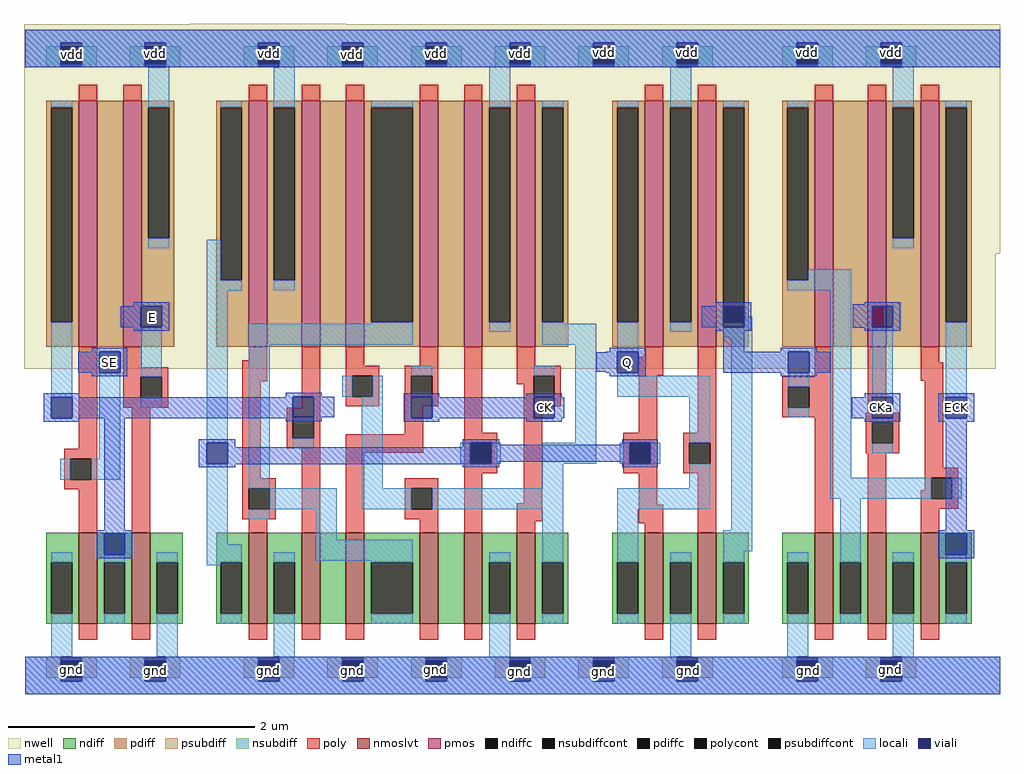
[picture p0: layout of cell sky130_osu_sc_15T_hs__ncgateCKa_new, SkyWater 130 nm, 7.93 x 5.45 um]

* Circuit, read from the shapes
.subckt sky130_osu_sc_15T_hs__ncgateCKa_new CK CKa E ECK Q SE gnd vdd
XM1 n1 SE gnd gnd sky130_fd_pr__nfet_01v8_lvt w=0.74 l=0.15
XM2 gnd E n1 gnd sky130_fd_pr__nfet_01v8_lvt w=0.74 l=0.15
XM3 gnd n2 n3 gnd sky130_fd_pr__nfet_01v8_lvt w=0.74 l=0.15
XM4 n4 n1 gnd gnd sky130_fd_pr__nfet_01v8_lvt w=0.74 l=0.15
XM5 n2 CK n4 gnd sky130_fd_pr__nfet_01v8_lvt w=0.74 l=0.15
XM6 n5 n6 n2 gnd sky130_fd_pr__nfet_01v8_lvt w=0.74 l=0.15
XM7 gnd n3 n5 gnd sky130_fd_pr__nfet_01v8_lvt w=0.74 l=0.15
XM8 n6 CK gnd gnd sky130_fd_pr__nfet_01v8_lvt w=0.74 l=0.15
XM9 gnd n3 Q gnd sky130_fd_pr__nfet_01v8_lvt w=0.74 l=0.15
XM10 n7 Q gnd gnd sky130_fd_pr__nfet_01v8_lvt w=0.74 l=0.15
XM11 n8 n7 gnd gnd sky130_fd_pr__nfet_01v8_lvt w=0.74 l=0.15
XM12 gnd CKa n8 gnd sky130_fd_pr__nfet_01v8_lvt w=0.74 l=0.15
XM13 ECK n8 gnd gnd sky130_fd_pr__nfet_01v8_lvt w=0.74 l=0.15
XM14 n9 SE n1 vdd sky130_fd_pr__pfet_01v8 w=2 l=0.15
XM15 vdd E n9 vdd sky130_fd_pr__pfet_01v8 w=2 l=0.15
XM16 vdd n2 n3 vdd sky130_fd_pr__pfet_01v8 w=2 l=0.15
XM17 n10 n1 vdd vdd sky130_fd_pr__pfet_01v8 w=2 l=0.15
XM18 n2 n6 n10 vdd sky130_fd_pr__pfet_01v8 w=2 l=0.15
XM19 n11 CK n2 vdd sky130_fd_pr__pfet_01v8 w=2 l=0.15
XM20 vdd n3 n11 vdd sky130_fd_pr__pfet_01v8 w=2 l=0.15
XM21 n6 CK vdd vdd sky130_fd_pr__pfet_01v8 w=2 l=0.15
XM22 vdd n3 Q vdd sky130_fd_pr__pfet_01v8 w=2 l=0.15
XM23 n7 Q vdd vdd sky130_fd_pr__pfet_01v8 w=2 l=0.15
XM24 n12 n7 n8 vdd sky130_fd_pr__pfet_01v8 w=2 l=0.15
XM25 vdd CKa n12 vdd sky130_fd_pr__pfet_01v8 w=2 l=0.15
XM26 ECK n8 vdd vdd sky130_fd_pr__pfet_01v8 w=2 l=0.15
.ends

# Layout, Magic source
magic
tech sky130A
magscale 1 2
<< nwell >>
rect 0 1084 255 1085
rect -269 711 1317 1084
rect -269 524 1310 711
<< nmoslvt >>
rect -180 110 -150 258
rect -94 110 -64 258
rect 96 110 126 258
rect 182 110 212 258
rect 254 110 284 258
rect 374 110 404 258
rect 446 110 476 258
rect 532 110 562 258
rect 740 110 770 258
rect 826 110 856 258
rect 1016 110 1046 258
rect 1102 110 1132 258
rect 1188 110 1218 258
<< pmos >>
rect -180 560 -150 960
rect -108 560 -78 960
rect 96 560 126 960
rect 182 560 212 960
rect 254 560 284 960
rect 374 560 404 960
rect 446 560 476 960
rect 532 560 562 960
rect 740 560 770 960
rect 826 560 856 960
rect 1016 560 1046 960
rect 1102 560 1132 960
rect 1188 560 1218 960
<< ndiff >>
rect -233 210 -180 258
rect -233 126 -225 210
rect -191 126 -180 210
rect -233 110 -180 126
rect -150 210 -94 258
rect -150 126 -139 210
rect -105 126 -94 210
rect -150 110 -94 126
rect -64 210 -11 258
rect -64 126 -53 210
rect -19 126 -11 210
rect -64 110 -11 126
rect 43 210 96 258
rect 43 126 51 210
rect 85 126 96 210
rect 43 110 96 126
rect 126 210 182 258
rect 126 126 137 210
rect 171 126 182 210
rect 126 110 182 126
rect 212 110 254 258
rect 284 210 374 258
rect 284 126 295 210
rect 363 126 374 210
rect 284 110 374 126
rect 404 110 446 258
rect 476 210 532 258
rect 476 126 487 210
rect 521 126 532 210
rect 476 110 532 126
rect 562 210 615 258
rect 562 126 573 210
rect 607 126 615 210
rect 562 110 615 126
rect 687 210 740 258
rect 687 126 695 210
rect 729 126 740 210
rect 687 110 740 126
rect 770 210 826 258
rect 770 126 781 210
rect 815 126 826 210
rect 770 110 826 126
rect 856 210 909 258
rect 856 126 867 210
rect 901 126 909 210
rect 856 110 909 126
rect 963 210 1016 258
rect 963 126 971 210
rect 1005 126 1016 210
rect 963 110 1016 126
rect 1046 210 1102 258
rect 1046 126 1057 210
rect 1091 126 1102 210
rect 1046 110 1102 126
rect 1132 210 1188 258
rect 1132 126 1143 210
rect 1177 126 1188 210
rect 1132 110 1188 126
rect 1218 210 1271 258
rect 1218 126 1229 210
rect 1263 126 1271 210
rect 1218 110 1271 126
<< pdiff >>
rect -233 949 -180 960
rect -233 600 -225 949
rect -191 600 -180 949
rect -233 560 -180 600
rect -150 560 -108 960
rect -78 949 -25 960
rect -78 736 -67 949
rect -33 736 -25 949
rect -78 560 -25 736
rect 43 949 96 960
rect 43 668 51 949
rect 85 668 96 949
rect 43 560 96 668
rect 126 949 182 960
rect 126 668 137 949
rect 171 668 182 949
rect 126 560 182 668
rect 212 560 254 960
rect 284 949 374 960
rect 284 600 295 949
rect 363 600 374 949
rect 284 560 374 600
rect 404 560 446 960
rect 476 949 532 960
rect 476 600 487 949
rect 521 600 532 949
rect 476 560 532 600
rect 562 949 615 960
rect 562 600 573 949
rect 607 600 615 949
rect 562 560 615 600
rect 687 949 740 960
rect 687 600 695 949
rect 729 600 740 949
rect 687 560 740 600
rect 770 949 826 960
rect 770 600 781 949
rect 815 600 826 949
rect 770 560 826 600
rect 856 949 909 960
rect 856 600 867 949
rect 901 600 909 949
rect 856 560 909 600
rect 963 949 1016 960
rect 963 668 971 949
rect 1005 668 1016 949
rect 963 560 1016 668
rect 1046 560 1102 960
rect 1132 949 1188 960
rect 1132 736 1143 949
rect 1177 736 1188 949
rect 1132 560 1188 736
rect 1218 949 1271 960
rect 1218 600 1229 949
rect 1263 600 1271 949
rect 1218 560 1271 600
<< ndiffc >>
rect -225 126 -191 210
rect -139 126 -105 210
rect -53 126 -19 210
rect 51 126 85 210
rect 137 126 171 210
rect 295 126 363 210
rect 487 126 521 210
rect 573 126 607 210
rect 695 126 729 210
rect 781 126 815 210
rect 867 126 901 210
rect 971 126 1005 210
rect 1057 126 1091 210
rect 1143 126 1177 210
rect 1229 126 1263 210
<< pdiffc >>
rect -225 600 -191 949
rect -67 736 -33 949
rect 51 668 85 949
rect 137 668 171 949
rect 295 600 363 949
rect 487 600 521 949
rect 573 600 607 949
rect 695 600 729 949
rect 781 600 815 949
rect 867 600 901 949
rect 971 668 1005 949
rect 1143 736 1177 949
rect 1229 600 1263 949
<< psubdiff >>
rect -233 22 -209 56
rect -175 22 -151 56
rect -97 22 -73 56
rect -39 22 -15 56
rect 88 22 112 56
rect 146 22 170 56
rect 224 22 248 56
rect 282 22 306 56
rect 360 22 384 56
rect 418 22 442 56
rect 496 22 520 56
rect 554 22 578 56
rect 632 22 656 56
rect 690 22 714 56
rect 768 22 792 56
rect 826 22 850 56
rect 963 22 987 56
rect 1021 22 1045 56
rect 1099 22 1123 56
rect 1157 22 1181 56
<< nsubdiff >>
rect -233 1014 -209 1048
rect -175 1014 -151 1048
rect -97 1014 -73 1048
rect -39 1014 -15 1048
rect 88 1014 112 1048
rect 146 1014 170 1048
rect 224 1014 248 1048
rect 282 1014 306 1048
rect 360 1014 384 1048
rect 418 1014 442 1048
rect 496 1014 520 1048
rect 554 1014 578 1048
rect 632 1014 656 1048
rect 690 1014 714 1048
rect 768 1014 792 1048
rect 826 1014 850 1048
rect 963 1014 987 1048
rect 1021 1014 1045 1048
rect 1099 1014 1123 1048
rect 1157 1014 1181 1048
<< psubdiffcont >>
rect -209 22 -175 56
rect -73 22 -39 56
rect 112 22 146 56
rect 248 22 282 56
rect 384 22 418 56
rect 520 22 554 56
rect 656 22 690 56
rect 792 22 826 56
rect 987 22 1021 56
rect 1123 22 1157 56
<< nsubdiffcont >>
rect -209 1014 -175 1048
rect -73 1014 -39 1048
rect 112 1014 146 1048
rect 248 1014 282 1048
rect 384 1014 418 1048
rect 520 1014 554 1048
rect 656 1014 690 1048
rect 792 1014 826 1048
rect 987 1014 1021 1048
rect 1123 1014 1157 1048
<< poly >>
rect -180 960 -150 986
rect -108 960 -78 986
rect 96 960 126 986
rect 182 960 212 986
rect 254 960 284 986
rect 374 960 404 986
rect 446 960 476 986
rect 532 960 562 986
rect 740 960 770 986
rect 826 960 856 986
rect 1016 960 1046 986
rect 1102 960 1132 986
rect 1188 960 1218 986
rect -180 394 -150 560
rect -108 527 -78 560
rect 96 538 126 560
rect -108 511 -35 527
rect -108 477 -79 511
rect -45 477 -35 511
rect -108 461 -35 477
rect 86 504 126 538
rect -204 378 -150 394
rect -204 344 -194 378
rect -160 344 -150 378
rect -204 328 -150 344
rect -180 258 -150 328
rect -94 258 -64 461
rect 86 346 116 504
rect 182 461 212 560
rect 254 529 284 560
rect 374 529 404 560
rect 254 513 308 529
rect 254 479 264 513
rect 298 479 308 513
rect 254 463 308 479
rect 350 513 404 529
rect 350 479 360 513
rect 394 479 404 513
rect 350 463 404 479
rect 158 445 212 461
rect 158 411 168 445
rect 202 411 212 445
rect 350 418 380 463
rect 158 395 212 411
rect 86 330 140 346
rect 86 296 96 330
rect 130 296 140 330
rect 86 280 140 296
rect 96 258 126 280
rect 182 258 212 395
rect 254 388 380 418
rect 446 420 476 560
rect 532 529 562 560
rect 740 544 770 560
rect 532 513 603 529
rect 532 499 559 513
rect 543 479 559 499
rect 593 479 603 513
rect 543 463 603 479
rect 730 514 770 544
rect 446 404 500 420
rect 254 258 284 388
rect 446 370 456 404
rect 490 370 500 404
rect 446 354 500 370
rect 350 330 404 346
rect 350 296 360 330
rect 394 296 404 330
rect 350 280 404 296
rect 374 258 404 280
rect 446 258 476 354
rect 543 306 573 463
rect 730 420 760 514
rect 826 420 856 560
rect 1016 511 1046 560
rect 963 495 1046 511
rect 963 461 973 495
rect 1007 461 1046 495
rect 963 445 1046 461
rect 1102 453 1132 560
rect 1188 535 1218 560
rect 1188 505 1225 535
rect 705 404 760 420
rect 705 370 715 404
rect 749 370 760 404
rect 705 354 760 370
rect 802 404 856 420
rect 802 370 812 404
rect 846 370 856 404
rect 802 354 856 370
rect 532 276 573 306
rect 730 303 760 354
rect 532 258 562 276
rect 730 273 770 303
rect 740 258 770 273
rect 826 258 856 354
rect 1016 258 1046 445
rect 1099 437 1153 453
rect 1099 403 1109 437
rect 1143 403 1153 437
rect 1099 387 1153 403
rect 1102 258 1132 387
rect 1195 363 1225 505
rect 1195 347 1249 363
rect 1195 327 1205 347
rect 1188 313 1205 327
rect 1239 313 1249 347
rect 1188 297 1249 313
rect 1188 258 1218 297
rect -180 84 -150 110
rect -94 84 -64 110
rect 96 84 126 110
rect 182 84 212 110
rect 254 84 284 110
rect 374 84 404 110
rect 446 84 476 110
rect 532 84 562 110
rect 740 84 770 110
rect 826 84 856 110
rect 1016 84 1046 110
rect 1102 84 1132 110
rect 1188 84 1218 110
<< polycont >>
rect -79 477 -45 511
rect -194 344 -160 378
rect 264 479 298 513
rect 360 479 394 513
rect 168 411 202 445
rect 96 296 130 330
rect 559 479 593 513
rect 456 370 490 404
rect 360 296 394 330
rect 973 461 1007 495
rect 715 370 749 404
rect 812 370 846 404
rect 1109 403 1143 437
rect 1205 313 1239 347
<< locali >>
rect -267 1054 1317 1075
rect -267 1014 -209 1054
rect -175 1014 -73 1054
rect -39 1014 112 1054
rect 146 1014 248 1054
rect 282 1014 384 1054
rect 418 1014 520 1054
rect 554 1014 656 1054
rect 690 1014 792 1054
rect 826 1014 987 1054
rect 1021 1014 1123 1054
rect 1157 1014 1317 1054
rect -225 949 -191 960
rect -67 949 -33 1014
rect -67 720 -33 736
rect 51 949 85 960
rect 28 668 51 734
rect 28 651 85 668
rect 137 949 171 1014
rect 137 652 171 668
rect 295 949 363 960
rect -225 478 -191 600
rect -147 378 -113 518
rect -79 511 -45 592
rect -79 461 -45 477
rect -210 344 -194 378
rect -160 344 -113 378
rect 28 404 62 651
rect 295 597 363 600
rect -225 210 -191 226
rect -225 56 -191 126
rect 28 239 62 370
rect 96 563 363 597
rect 487 949 521 1014
rect 487 584 521 600
rect 573 949 607 960
rect 573 597 607 600
rect 695 949 729 960
rect 573 563 661 597
rect 96 330 130 563
rect 360 513 394 529
rect 248 479 264 513
rect 298 479 314 513
rect 168 395 202 411
rect 280 330 314 479
rect 360 478 394 479
rect 559 513 593 529
rect 559 478 593 479
rect 627 404 661 563
rect 695 552 729 600
rect 781 949 815 1014
rect 781 584 815 600
rect 867 949 901 960
rect 971 949 1005 960
rect 1143 949 1177 1014
rect 1143 720 1177 736
rect 1229 949 1263 960
rect 1005 668 1075 686
rect 971 652 1075 668
rect 901 592 914 609
rect 867 575 914 592
rect 695 513 729 518
rect 695 479 846 513
rect 812 404 846 479
rect 440 370 456 404
rect 490 370 506 404
rect 573 370 661 404
rect 699 370 715 404
rect 749 370 765 404
rect 573 330 607 370
rect 812 330 846 370
rect 130 296 239 330
rect 280 296 360 330
rect 394 296 607 330
rect 96 280 130 296
rect 205 246 239 296
rect -139 210 -105 222
rect -139 110 -105 126
rect -53 210 -19 226
rect 28 210 85 239
rect 28 205 51 210
rect -53 56 -19 126
rect 51 110 85 126
rect 137 210 171 226
rect 205 212 363 246
rect 137 56 171 126
rect 295 210 363 212
rect 295 110 363 126
rect 487 210 521 226
rect 487 56 521 126
rect 573 210 607 296
rect 573 110 607 126
rect 695 296 846 330
rect 695 210 729 296
rect 880 262 914 575
rect 973 495 1007 518
rect 973 445 1007 461
rect 1041 347 1075 652
rect 1109 478 1143 592
rect 1229 478 1263 600
rect 1109 437 1143 444
rect 1109 387 1143 403
rect 1041 313 1205 347
rect 1239 313 1255 347
rect 867 228 914 262
rect 695 110 729 126
rect 781 210 815 226
rect 781 56 815 126
rect 867 210 901 228
rect 867 110 901 126
rect 971 210 1005 226
rect 971 56 1005 126
rect 1057 210 1091 313
rect 1057 110 1091 126
rect 1143 210 1177 226
rect 1143 56 1177 126
rect 1229 210 1263 222
rect 1229 110 1263 126
rect -267 16 -209 56
rect -175 16 -73 56
rect -39 16 112 56
rect 146 16 248 56
rect 282 16 384 56
rect 418 16 520 56
rect 554 16 656 56
rect 690 16 792 56
rect 826 16 987 56
rect 1021 16 1123 56
rect 1157 16 1317 56
rect -267 -5 1317 16
<< viali >>
rect -209 1048 -175 1054
rect -209 1020 -175 1048
rect -73 1048 -39 1054
rect -73 1020 -39 1048
rect 112 1048 146 1054
rect 112 1020 146 1048
rect 248 1048 282 1054
rect 248 1020 282 1048
rect 384 1048 418 1054
rect 384 1020 418 1048
rect 520 1048 554 1054
rect 520 1020 554 1048
rect 656 1048 690 1054
rect 656 1020 690 1048
rect 792 1048 826 1054
rect 792 1020 826 1048
rect 987 1048 1021 1054
rect 987 1020 1021 1048
rect 1123 1048 1157 1054
rect 1123 1020 1157 1048
rect -79 592 -45 626
rect -225 444 -191 478
rect -147 518 -113 552
rect 28 370 62 404
rect -139 222 -105 256
rect 168 445 202 479
rect 360 444 394 478
rect 559 444 593 478
rect 867 600 901 626
rect 867 592 901 600
rect 695 518 729 552
rect 456 370 490 404
rect 715 370 749 404
rect 973 518 1007 552
rect 1109 592 1143 626
rect 1109 444 1143 478
rect 1229 444 1263 478
rect 1229 222 1263 256
rect -209 22 -175 50
rect -209 16 -175 22
rect -73 22 -39 50
rect -73 16 -39 22
rect 112 22 146 50
rect 112 16 146 22
rect 248 22 282 50
rect 248 16 282 22
rect 384 22 418 50
rect 384 16 418 22
rect 520 22 554 50
rect 520 16 554 22
rect 656 22 690 50
rect 656 16 690 22
rect 792 22 826 50
rect 792 16 826 22
rect 987 22 1021 50
rect 987 16 1021 22
rect 1123 22 1157 50
rect 1123 16 1157 22
<< metal1 >>
rect -267 1054 1317 1075
rect -267 1020 -209 1054
rect -175 1020 -73 1054
rect -39 1020 112 1054
rect 146 1020 248 1054
rect 282 1020 384 1054
rect 418 1020 520 1054
rect 554 1020 656 1054
rect 690 1020 792 1054
rect 826 1020 987 1054
rect 1021 1020 1123 1054
rect 1157 1020 1317 1054
rect -267 1014 1317 1020
rect -91 626 -33 632
rect 855 626 913 632
rect 1097 629 1155 632
rect -112 592 -79 626
rect -45 592 -33 626
rect 832 592 867 626
rect 901 592 913 626
rect -91 586 -33 592
rect 855 586 913 592
rect 1078 626 1155 629
rect 1078 592 1109 626
rect 1143 592 1155 626
rect 1078 591 1155 592
rect 1097 586 1155 591
rect -159 552 -101 558
rect 683 552 741 558
rect -181 518 -147 552
rect -113 518 -101 552
rect 676 551 695 552
rect 661 519 695 551
rect 676 518 695 519
rect 729 518 741 552
rect 867 552 901 586
rect 961 552 1019 558
rect 867 518 973 552
rect 1007 518 1041 552
rect -159 512 -101 518
rect 683 512 741 518
rect 961 512 1019 518
rect -237 478 -179 484
rect 156 479 215 485
rect 156 478 168 479
rect -237 444 -225 478
rect -191 445 168 478
rect 202 445 235 479
rect 348 478 406 484
rect 547 478 605 484
rect 1097 478 1155 484
rect -191 444 215 445
rect -237 438 -179 444
rect -139 262 -105 444
rect 156 439 215 444
rect 348 444 360 478
rect 394 444 559 478
rect 593 444 609 478
rect 1076 444 1109 478
rect 1143 444 1155 478
rect 348 438 406 444
rect 547 438 605 444
rect 1097 438 1155 444
rect 1217 478 1275 484
rect 1217 444 1229 478
rect 1263 444 1275 478
rect 1217 438 1275 444
rect 15 404 74 410
rect 15 370 28 404
rect 62 397 74 404
rect 444 404 503 410
rect 444 397 456 404
rect 62 370 456 397
rect 490 401 503 404
rect 703 404 761 410
rect 703 401 715 404
rect 490 373 715 401
rect 490 370 503 373
rect 15 369 503 370
rect 15 364 74 369
rect 444 364 503 369
rect 703 370 715 373
rect 749 370 761 404
rect 703 364 761 370
rect 1229 262 1263 438
rect -151 256 -93 262
rect -151 222 -139 256
rect -105 222 -93 256
rect -151 216 -93 222
rect 1217 256 1275 262
rect 1217 222 1229 256
rect 1263 222 1275 256
rect 1217 216 1275 222
rect -267 50 1317 56
rect -267 16 -209 50
rect -175 16 -73 50
rect -39 16 112 50
rect 146 16 248 50
rect 282 16 384 50
rect 418 16 520 50
rect 554 16 656 50
rect 690 16 792 50
rect 826 16 987 50
rect 1021 16 1123 50
rect 1157 16 1317 50
rect -267 -5 1317 16
<< labels >>
rlabel viali -130 535 -130 535 1 SE
rlabel viali -61 608 -61 608 1 E
rlabel viali 576 461 576 461 1 CK
rlabel viali 1246 461 1246 461 1 ECK
rlabel viali 712 535 712 535 1 Q
rlabel viali 1125 462 1125 462 1 CKa
rlabel nwell -191 1035 -190 1035 1 vdd
rlabel nwell -56 1036 -55 1036 1 vdd
rlabel nwell 129 1036 130 1036 1 vdd
rlabel viali 264 1035 264 1035 1 vdd
rlabel viali 401 1037 401 1037 1 vdd
rlabel viali 538 1037 538 1037 1 vdd
rlabel nwell 674 1037 674 1038 1 vdd
rlabel nwell 809 1038 809 1039 1 vdd
rlabel nwell 1004 1037 1004 1038 1 vdd
rlabel nwell 1141 1037 1141 1038 1 vdd
rlabel viali -192 36 -192 36 1 gnd
rlabel viali -56 34 -56 34 1 gnd
rlabel viali 129 34 129 34 1 gnd
rlabel viali 265 34 265 34 1 gnd
rlabel viali 400 35 400 35 1 gnd
rlabel viali 536 33 536 33 1 gnd
rlabel viali 673 33 673 33 1 gnd
rlabel viali 810 34 810 34 1 gnd
rlabel viali 1005 34 1005 34 1 gnd
rlabel viali 1139 35 1139 35 1 gnd
<< end >>
